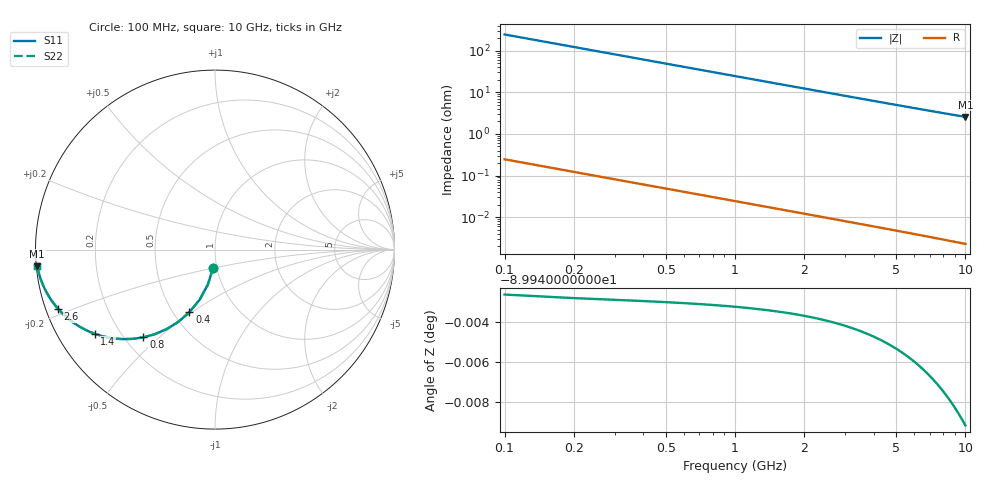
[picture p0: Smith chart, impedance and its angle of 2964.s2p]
# Hz S RI R 50.00
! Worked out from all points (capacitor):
!   100 points, 100 MHz to 10 GHz, reference 50 ohm
!   read as one part in shunt: C = 6.48 pF near 100 MHz
!   lowest |Z| = 2.57 ohm at 10 GHz (marker M1)
!   S11 on the Smith chart (normalised r, x): 100 MHz: 0.96, -0.20; 400 MHz: 0.60, -0.49; 800 MHz: 0.27, -0.45; 1.4 GHz: 0.11, -0.31; 2.6 GHz: 0.04, -0.18; 10 GHz: 0.00, -0.05
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1e8  -0.0104 -0.1007  0.9896 -0.1008  0.9896 -0.1008  -0.0104 -0.1007
2e8  -0.04 -0.1954  0.96 -0.1956  0.96 -0.1956  -0.04 -0.1954
3e8  -0.0856 -0.2791  0.9144 -0.2794  0.9144 -0.2794  -0.0856 -0.2791
4e8  -0.1425 -0.3489  0.8575 -0.3493  0.8575 -0.3493  -0.1425 -0.3489
5e8  -0.206 -0.4037  0.794 -0.4042  0.794 -0.4042  -0.206 -0.4037
6e8  -0.2719 -0.4442  0.7281 -0.4447  0.7281 -0.4447  -0.2719 -0.4442
7e8  -0.3368 -0.4718  0.6632 -0.4724  0.6632 -0.4724  -0.3368 -0.4718
8e8  -0.3987 -0.4888  0.6013 -0.4895  0.6013 -0.4895  -0.3987 -0.4888
9e8  -0.4561 -0.4972  0.5439 -0.498  0.5439 -0.498  -0.4561 -0.4972
1.1e9  -0.5558 -0.4959  0.4442 -0.4969  0.4442 -0.4969  -0.5558 -0.4959
1.2e9  -0.5981 -0.4892  0.4019 -0.4903  0.4019 -0.4903  -0.5981 -0.4892
1.4e9  -0.6693 -0.4693  0.3307 -0.4706  0.3307 -0.4706  -0.6693 -0.4693
1.6e9  -0.7253 -0.4451  0.2747 -0.4466  0.2747 -0.4466  -0.7253 -0.4451
1.8e9  -0.7695 -0.4198  0.2305 -0.4215  0.2305 -0.4215  -0.7695 -0.4198
2.2e9  -0.8327 -0.3717  0.1673 -0.3737  0.1673 -0.3737  -0.8327 -0.3717
2.6e9  -0.8741 -0.3301  0.1259 -0.3325  0.1259 -0.3325  -0.8741 -0.3301
3.4e9  -0.9221 -0.2659  0.0779 -0.2691  0.0779 -0.2691  -0.9221 -0.2659
4.2e9  -0.9474 -0.2207  0.0525 -0.2246  0.0525 -0.2246  -0.9474 -0.2207
5.1e9  -0.9637 -0.1841  0.0363 -0.1889  0.0363 -0.1889  -0.9637 -0.1841
6.7e9  -0.9786 -0.1409  0.0213 -0.1472  0.0213 -0.1472  -0.9786 -0.1409
8.4e9  -0.9863 -0.1115  0.0136 -0.1195  0.0136 -0.1195  -0.9863 -0.1115
1e10  -0.9903 -0.0923  0.00958 -0.1019  0.00958 -0.1019  -0.9903 -0.0923
